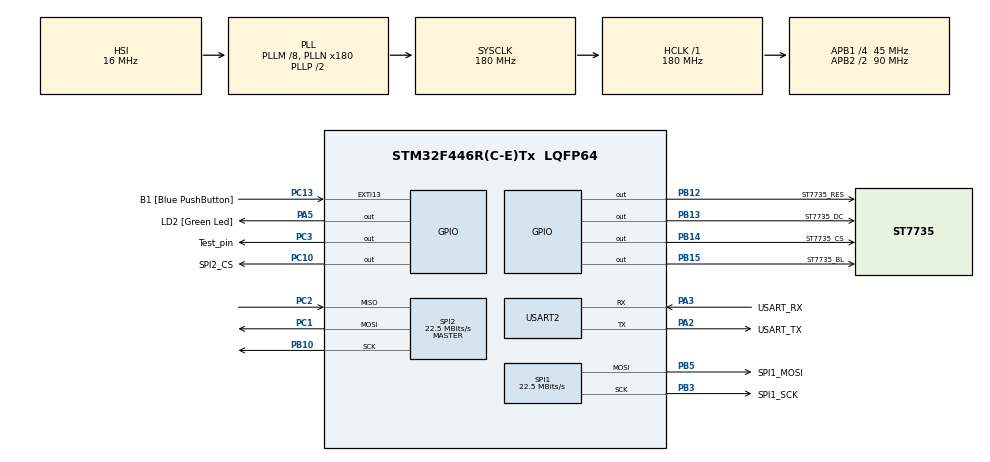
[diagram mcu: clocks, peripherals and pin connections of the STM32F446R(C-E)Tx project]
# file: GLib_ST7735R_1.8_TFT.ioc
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Dma.Request0=SPI1_TX
Dma.SPI1_TX.0.Direction=DMA_MEMORY_TO_PERIPH
Dma.SPI1_TX.0.FIFOMode=DMA_FIFOMODE_DISABLE
Dma.SPI1_TX.0.Instance=DMA2_Stream3
Dma.SPI1_TX.0.MemDataAlignment=DMA_MDATAALIGN_BYTE
Dma.SPI1_TX.0.MemInc=DMA_MINC_ENABLE
Dma.SPI1_TX.0.Mode=DMA_NORMAL
Dma.SPI1_TX.0.PeriphDataAlignment=DMA_PDATAALIGN_BYTE
Dma.SPI1_TX.0.PeriphInc=DMA_PINC_DISABLE
Dma.SPI1_TX.0.Priority=DMA_PRIORITY_LOW
FATFS._MAX_SS=512
FATFS._MIN_SS=512
Mcu.Family=STM32F4
Mcu.Name=STM32F446R(C-E)Tx
Mcu.Package=LQFP64
NVIC.DMA2_Stream3_IRQn=true\:0\:0\:false\:false\:true\:false\:true\:true
NVIC.PriorityGroup=NVIC_PRIORITYGROUP_2
PA13.GPIO_Label=TMS
PA13.Mode=Serial_Wire
PA13.Signal=SYS_JTMS-SWDIO
PA14.GPIO_Label=TCK
PA14.Mode=Serial_Wire
PA14.Signal=SYS_JTCK-SWCLK
PA2.GPIO_Label=USART_TX
PA2.Mode=Asynchronous
PA2.Signal=USART2_TX
PA3.GPIO_Label=USART_RX
PA3.Mode=Asynchronous
PA3.Signal=USART2_RX
PA5.GPIO_Label=LD2 [Green Led]
PA5.Signal=GPIO_Output
PB10.Mode=Full_Duplex_Master
PB10.Signal=SPI2_SCK
PB12.GPIO_Label=ST7735_RES
PB12.Signal=GPIO_Output
PB13.GPIO_Label=ST7735_DC
PB13.Signal=GPIO_Output
PB14.GPIO_Label=ST7735_CS
PB14.Signal=GPIO_Output
PB15.GPIO_Label=ST7735_BL
PB15.Signal=GPIO_Output
PB3.GPIO_Label=SPI1_SCK
PB3.Mode=TX_Only_Simplex_Unidirect_Master
PB3.Signal=SPI1_SCK
PB5.GPIO_Label=SPI1_MOSI
PB5.Mode=TX_Only_Simplex_Unidirect_Master
PB5.Signal=SPI1_MOSI
PC1.Mode=Full_Duplex_Master
PC1.Signal=SPI2_MOSI
PC10.GPIO_Label=SPI2_CS
PC10.GPIO_PuPd=GPIO_PULLUP
PC10.PinState=GPIO_PIN_SET
PC10.Signal=GPIO_Output
PC13.GPIO_Label=B1 [Blue PushButton]
PC13.GPIO_ModeDefaultEXTI=GPIO_MODE_IT_FALLING
PC13.Signal=GPXTI13
PC14-OSC32_IN.Mode=LSE-External-Oscillator
PC14-OSC32_IN.Signal=RCC_OSC32_IN
PC15-OSC32_OUT.Mode=LSE-External-Oscillator
PC15-OSC32_OUT.Signal=RCC_OSC32_OUT
PC2.Mode=Full_Duplex_Master
PC2.Signal=SPI2_MISO
PC3.GPIO_Label=Test_pin
PC3.Signal=GPIO_Output
ProjectManager.HeapSize=0x200
ProjectManager.StackSize=0x400
ProjectManager.TargetToolchain=STM32CubeIDE
RCC.48MHZClocksFreq_Value=84000000
RCC.AHBFreq_Value=180000000
RCC.APB1CLKDivider=RCC_HCLK_DIV4
RCC.APB1Freq_Value=45000000
RCC.APB1TimFreq_Value=90000000
RCC.APB2CLKDivider=RCC_HCLK_DIV2
RCC.APB2Freq_Value=90000000
RCC.APB2TimFreq_Value=180000000
RCC.CortexFreq_Value=180000000
RCC.FLatency-AdvancedSettings=FLASH_LATENCY_5
RCC.HCLKFreq_Value=180000000
RCC.HSE_VALUE=8000000
RCC.HSI_VALUE=16000000
RCC.PLLM=8
RCC.PLLN=180
RCC.SYSCLKFreq_VALUE=180000000
RCC.SYSCLKSource=RCC_SYSCLKSOURCE_PLLCLK
RCC.USBFreq_Value=180000000
RCC.VCOOutputFreq_Value=360000000
SPI1.BaudRatePrescaler=SPI_BAUDRATEPRESCALER_4
SPI1.CalculateBaudRate=22.5 MBits/s
SPI1.DataSize=SPI_DATASIZE_8BIT
SPI1.Direction=SPI_DIRECTION_2LINES
SPI1.Mode=SPI_MODE_MASTER
SPI1.VirtualType=VM_MASTER
SPI2.BaudRatePrescaler=SPI_BAUDRATEPRESCALER_2
SPI2.CalculateBaudRate=22.5 MBits/s
SPI2.DataSize=SPI_DATASIZE_8BIT
SPI2.Direction=SPI_DIRECTION_2LINES
SPI2.Mode=SPI_MODE_MASTER
SPI2.VirtualType=VM_MASTER
USART2.VirtualMode=VM_ASYNC
VP_FATFS_VS_Generic.Mode=User_defined
board=NUCLEO-F446RE

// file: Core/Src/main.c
/* USER CODE BEGIN Header */
/*
 * GLib_ST7735R_1.8_TFT
 * Copyright (C) 2025 Anatoliy Lizanets, Andrew Kushyk, Andriy Honcharenko, ScarsFun
 *
 * This program is free software: you can redistribute it and/or modify
 * it under the terms of the GNU General Public License as published by
 * the Free Software Foundation, either version 3 of the License, or
 * (at your option) any later version.
 *
 * This program is distributed in the hope that it will be useful,
 * but WITHOUT ANY WARRANTY; without even the implied warranty of
 * MERCHANTABILITY or FITNESS FOR A PARTICULAR PURPOSE.  See the
 * GNU General Public License for more details.
 *
 * You should have received a copy of the GNU General Public License
 * along with this program.  If not, see <https://www.gnu.org/licenses/>.
 */
/* USER CODE END Header */
#include "main.h"
#include "fatfs.h"

/* USER CODE BEGIN Includes */
#include "st7735.h"
#include "fonts.h"
#include "image.h"

#include <stdio.h>
#include <string.h>
#include <stdarg.h> //for va_list var arg functions
#include "user_diskio.h"
/* USER CODE END Includes */

/* USER CODE BEGIN PTD */
void myprintf(const char *fmt, ...);
/* USER CODE END PTD */

/* USER CODE BEGIN PD */
const uint8_t rotation = 3;
/* USER CODE END PD */

SPI_HandleTypeDef hspi1;
SPI_HandleTypeDef hspi2;
DMA_HandleTypeDef hdma_spi1_tx;

UART_HandleTypeDef huart2;

/* USER CODE BEGIN PV */
uint16_t image_buffer[160 * 128];

uint16_t (*image_2d)[128] = (uint16_t(*)[128])image_buffer;

#define FRAME_SIZE (160*128*2)  // 40960 байт

/* USER CODE END PV */

void SystemClock_Config(void);
static void MX_GPIO_Init(void);
static void MX_DMA_Init(void);
static void MX_USART2_UART_Init(void);
static void MX_SPI1_Init(void);
static void MX_SPI2_Init(void);
/* USER CODE BEGIN PFP */
// Глобальний об'єкт файлової системи
static FATFS fs;
// Файловий дескриптор
static FIL fil;

/* USER CODE END PFP */

/* USER CODE BEGIN 0 */
void myprintf(const char *fmt, ...) {
  static char buffer[256];
  va_list args;
  va_start(args, fmt);
  vsnprintf(buffer, sizeof(buffer), fmt, args);
  va_end(args);

  int len = strlen(buffer);
  HAL_UART_Transmit(&huart2, (uint8_t*)buffer, len, -1);

}

void demoTFT(void)
{
 ST7735_SetRotation(rotation);

 //ST7735_DrawImage(0, 0, 160, 128, (uint16_t*) test_img_128x128);
 //ST7735_DrawImage(0, 0, 160, 128, (uint16_t*) test_img_128x128_2);
// HAL_Delay(3000);
// ST7735_DrawImage(0, 0, 160, 128, (uint16_t*) test_img_128x128_3);
 HAL_Delay(3000);
 //ST7735_DrawImage(0, 0, 160, 128, (uint16_t*) test_img_128x128_4);
 HAL_Delay(3000);

// r++;
}

void copy_1d_to_2d(const uint16_t* one_d, uint16_t two_d[160][128])
{
    for (int y = 0; y < 160; y++)
    {
        for (int x = 0; x < 128; x++)
        {
            two_d[y][x] = one_d[y * 128 + x];
        }
    }
}
void parse_boot_sector(void)
{
    BYTE sector_buf[512];
    DRESULT dres = disk_read(0, sector_buf, 0, 1); // Читаємо сектор 0

    if (dres != RES_OK) {
        myprintf("Can't read boot sector\r\n");
        return;
    }

    // BPB розпочинається з байта 11
    uint16_t bytes_per_sector = sector_buf[11] | (sector_buf[12] << 8);
    uint8_t sectors_per_cluster = sector_buf[13];
    uint16_t reserved_sectors = sector_buf[14] | (sector_buf[15] << 8);
    uint8_t num_fats = sector_buf[16];
    uint16_t root_entries = sector_buf[17] | (sector_buf[18] << 8);
    uint16_t total_sectors_16 = sector_buf[19] | (sector_buf[20] << 8);
    uint32_t total_sectors_32 = *(uint32_t*)&sector_buf[32];
    uint16_t sectors_per_fat_16 = sector_buf[22] | (sector_buf[23] << 8);
    uint32_t sectors_per_fat_32 = *(uint32_t*)&sector_buf[36];

    myprintf("FAT Info:\r\n");
    myprintf("Bytes per sector:      %u\r\n", bytes_per_sector);
    myprintf("Sectors per cluster:   %u\r\n", sectors_per_cluster);
    myprintf("Reserved sectors:      %u\r\n", reserved_sectors);
    myprintf("Number of FATs:        %u\r\n", num_fats);
    myprintf("Root dir entries:      %u\r\n", root_entries);
    myprintf("Total sectors (16-bit):%u\r\n", total_sectors_16);
    myprintf("Total sectors (32-bit):%lu\r\n", total_sectors_32);
    myprintf("Sectors per FAT (16):  %u\r\n", sectors_per_fat_16);
    myprintf("Sectors per FAT (32):  %lu\r\n", sectors_per_fat_32);

    // Вивести метку тому (Volume Label)
    myprintf("Volume label: %.11s\r\n", &sector_buf[43]);

    // Вивести тип FAT
    myprintf("FAT type string: %.8s\r\n", &sector_buf[54]); // Наприклад, "FAT16   "
}

FRESULT fatfs_read_buff(uint16_t* buff, char* name_of_file )
{
    FRESULT res;
    UINT br;

#define IMAGE_SIZE 20480 // кількість елементів uint16_t (не байтів!)

 res = f_open(&fil, name_of_file, FA_READ);
if (res != FR_OK)
{
    myprintf("f_open failed: %d\r\n", res);
    return res;
}

res = f_read(&fil, buff, IMAGE_SIZE * sizeof(uint16_t), &br);

if (res != FR_OK || br != IMAGE_SIZE * sizeof(uint16_t))
{
    myprintf("f_read failed: %d, read %u bytes\r\n", res, br);
    return res;
}

myprintf("Successfully read %u bytes from file\r\n", br);

    // 7. Закриваємо файл після читання
    f_close(&fil);

    return res;

}
FRESULT fatfs_init()
{
	FRESULT res;
	 // 1. Монтуємо файлову систему
	    res = f_mount(&fs, "", 1);
	    if (res != FR_OK )
	    {
	        myprintf("f_mount failed: %d\r\n", res);
	        return res;
	    }
	    myprintf("File system mounted\r\n");
	    return res;
}
FRESULT fatfs_write(const uint16_t* buff, char* name_of_file )
{
    FRESULT res;
    UINT bw;

    // 2. Створюємо або відкриваємо файл для запису
    res = f_open(&fil, name_of_file, FA_WRITE | FA_CREATE_ALWAYS);
    if (res != FR_OK)
    {
        myprintf("f_open write failed: %d\r\n", res);
        return res;
    }
    myprintf("File opened for writing\r\n");

    // 3. Записуємо буфер у файл

    const uint32_t buf_size = 40960; // Кількість байтів

    res = f_write(&fil, buff, buf_size, &bw);
    if (res != FR_OK || bw != buf_size)
    {
        myprintf("f_write failed: %d\r\n", res);
        f_close(&fil);
        return res;
    }
    HAL_Delay(1000);
    myprintf("Wrote %lu bytes to file\r\n", bw);

    // 4. Закриваємо файл після запису
    f_close(&fil);

    return res;

}

void test_lowlevel_sd(void) {
    DSTATUS status;
    DRESULT res;
    BYTE buffer[512];
    BYTE write_data[512];
    UINT i;

    myprintf("\r\n--- SD Low Level Test Start ---\r\n");

    // 1. Ініціалізація диску
    status = disk_initialize(0);
    if (status != 0) {
        myprintf("disk_initialize failed with status: %d\r\n", status);
        return;
    }
    myprintf("disk_initialize OK\r\n");

    // 2. Перевірка статусу
    status = disk_status(0);
    if (status != 0) {
        myprintf("disk_status reports NOT READY (status=%d)\r\n", status);
        return;
    }
    myprintf("disk_status OK\r\n");

    // 3. Читання 0-го сектора
    memset(buffer, 0, sizeof(buffer));
    res = disk_read(0, buffer, 0, 1);
    if (res != RES_OK) {
        myprintf("disk_read sector 0 failed with result: %d\r\n", res);
        return;
    }
    myprintf("disk_read sector 0 OK, first 16 bytes:\r\n");
    for(i = 0; i < 16; i++) {
        myprintf("%02X ", buffer[i]);
    }
    myprintf("\r\n");

    // 4. Підготовка даних для запису в 1-й сектор (наприклад, запишемо інкрементний патерн)
    for(i = 0; i < 512; i++) {
        write_data[i] = (BYTE)(i & 0xFF);
    }

    // 5. Запис у 1-й сектор
    res = disk_write(0, write_data, 1, 1);
    if (res != RES_OK) {
        myprintf("disk_write sector 1 failed with result: %d\r\n", res);
        return;
    }
    myprintf("disk_write sector 1 OK\r\n");

    // 6. Читання назад 1-го сектора і перевірка
    memset(buffer, 0, sizeof(buffer));
    res = disk_read(0, buffer, 1, 1);
    if (res != RES_OK) {
        myprintf("disk_read sector 1 failed with result: %d\r\n", res);
        return;
    }
    myprintf("disk_read sector 1 OK, first 16 bytes:\r\n");
    for(i = 0; i < 16; i++) {
        myprintf("%02X ", buffer[i]);
    }
    myprintf("\r\n");

    // 7. Перевірка відповідності записаних та прочитаних даних
    if (memcmp(write_data, buffer, 512) == 0) {
        myprintf("Read/Write test PASSED!\r\n");
    } else {
        myprintf("Read/Write test FAILED!\r\n");
    }

    myprintf("--- SD Low Level Test End ---\r\n");
}

int fill_file_names(char* files[], int count)
{
	const uint8_t MAX_FILENAME_LEN = 10;

    char buff[MAX_FILENAME_LEN];

    for (int i = 0; i < count; i++)
    {
        // Формуємо ім'я файлу
        int len = snprintf(buff, MAX_FILENAME_LEN, "i%d.txt", i);

        if (len < 0 || len >= MAX_FILENAME_LEN)
        {
            // Помилка форматування або довжина більша за буфер
            return -1;
        }
        files[i] = malloc(len + 1); // +1 для '\0'
        if (files[i] == NULL)
        {
        	// Помилка виділення пам'яті — звільняємо вже виділену
            for (int j = 0; j < i; j++)
            {
                free(files[j]);
            }
            return -2;
        }
        strcpy(files[i], buff);
    }
    return 0; // Успішно
}

void free_file_names(char* files[], int count)
{
    for (int i = 0; i < count; i++)
    {
        if (files[i] != NULL)
        {
            free(files[i]);
            files[i] = NULL;  // Щоб уникнути випадкового повторного звільнення
        }
    }
}
void draw_image(const uint16_t* image)
{
	uint16_t (*ptr_2d)[128] = (uint16_t(*)[128])image;
    ST7735_DrawImage(0, 0, 160, 128, (uint16_t*) ptr_2d);
}

void draw_1_file(const uint16_t number_of_frames, char* file_name)
{
	FIL file;
	UINT br;
	FRESULT  res;
	static uint16_t counter = 0;

	if (counter == 0 )
	{
		res = f_open(&file, file_name, FA_READ);
		if( FR_OK != res)
		{
			draw_image(error_image);
		}
	}

	uint32_t offset = counter * FRAME_SIZE;

	if (f_lseek(&file, offset) != FR_OK)
	{
		draw_image(error_image);
	}

	if (f_read(&file, image_buffer, FRAME_SIZE, &br) != FR_OK || br != FRAME_SIZE)
	{
		draw_image(error_image);
	}
	else
	{
		ST7735_DrawImage(0, 0, 160, 128, (uint16_t*)image_2d);
		counter = ( counter + 1 ) % number_of_frames;
	}

}
/* USER CODE END 0 */

int main(void)
{

  /* MCU Configuration--------------------------------------------------------*/

  /* Reset of all peripherals, Initializes the Flash interface and the Systick. */
  HAL_Init();

  /* Configure the system clock */
  SystemClock_Config();

  /* Initialize all configured peripherals */
  MX_GPIO_Init();
  MX_DMA_Init();
  MX_USART2_UART_Init();
  MX_SPI1_Init();
  MX_SPI2_Init();
  MX_FATFS_Init();
  /* USER CODE BEGIN 2 */
  ST7735_Init(&hspi1);
  ST7735_Backlight_On();
  ST7735_SetRotation(rotation);
  draw_image(Ektos_image);
  fatfs_init();
  HAL_Delay(1000);

#ifdef IMAGE
  char* file_names[1002] =
  {
	  "image_0.txt",
  };
  fill_file_names(file_names, 1001);
#endif

  /* USER CODE END 2 */

  /* Infinite loop */
  /* USER CODE BEGIN WHILE */

  const  uint16_t number_of_frames = 975;

  while (1)
  {
	  draw_1_file(number_of_frames, "i.BIN");
    /* USER CODE END WHILE */

  }
}

void SystemClock_Config(void)
{
  RCC_OscInitTypeDef RCC_OscInitStruct = {0};
  RCC_ClkInitTypeDef RCC_ClkInitStruct = {0};

  /** Configure the main internal regulator output voltage
  */
  __HAL_RCC_PWR_CLK_ENABLE();
  __HAL_PWR_VOLTAGESCALING_CONFIG(PWR_REGULATOR_VOLTAGE_SCALE1);

  /** Initializes the RCC Oscillators according to the specified parameters
  * in the RCC_OscInitTypeDef structure.
  */
  RCC_OscInitStruct.OscillatorType = RCC_OSCILLATORTYPE_HSI;
  RCC_OscInitStruct.HSIState = RCC_HSI_ON;
  RCC_OscInitStruct.HSICalibrationValue = RCC_HSICALIBRATION_DEFAULT;
  RCC_OscInitStruct.PLL.PLLState = RCC_PLL_ON;
  RCC_OscInitStruct.PLL.PLLSource = RCC_PLLSOURCE_HSI;
  RCC_OscInitStruct.PLL.PLLM = 8;
  RCC_OscInitStruct.PLL.PLLN = 180;
  RCC_OscInitStruct.PLL.PLLP = RCC_PLLP_DIV2;
  RCC_OscInitStruct.PLL.PLLQ = 2;
  RCC_OscInitStruct.PLL.PLLR = 2;
  if (HAL_RCC_OscConfig(&RCC_OscInitStruct) != HAL_OK)
  {
    Error_Handler();
  }

  /** Activate the Over-Drive mode
  */
  if (HAL_PWREx_EnableOverDrive() != HAL_OK)
  {
    Error_Handler();
  }

  /** Initializes the CPU, AHB and APB buses clocks
  */
  RCC_ClkInitStruct.ClockType = RCC_CLOCKTYPE_HCLK|RCC_CLOCKTYPE_SYSCLK
                              |RCC_CLOCKTYPE_PCLK1|RCC_CLOCKTYPE_PCLK2;
  RCC_ClkInitStruct.SYSCLKSource = RCC_SYSCLKSOURCE_PLLCLK;
  RCC_ClkInitStruct.AHBCLKDivider = RCC_SYSCLK_DIV1;
  RCC_ClkInitStruct.APB1CLKDivider = RCC_HCLK_DIV4;
  RCC_ClkInitStruct.APB2CLKDivider = RCC_HCLK_DIV2;

  if (HAL_RCC_ClockConfig(&RCC_ClkInitStruct, FLASH_LATENCY_5) != HAL_OK)
  {
    Error_Handler();
  }
}

static void MX_SPI1_Init(void)
{

  /* SPI1 parameter configuration*/
  hspi1.Instance = SPI1;
  hspi1.Init.Mode = SPI_MODE_MASTER;
  hspi1.Init.Direction = SPI_DIRECTION_2LINES;
  hspi1.Init.DataSize = SPI_DATASIZE_8BIT;
  hspi1.Init.CLKPolarity = SPI_POLARITY_LOW;
  hspi1.Init.CLKPhase = SPI_PHASE_1EDGE;
  hspi1.Init.NSS = SPI_NSS_SOFT;
  hspi1.Init.BaudRatePrescaler = SPI_BAUDRATEPRESCALER_4;
  hspi1.Init.FirstBit = SPI_FIRSTBIT_MSB;
  hspi1.Init.TIMode = SPI_TIMODE_DISABLE;
  hspi1.Init.CRCCalculation = SPI_CRCCALCULATION_DISABLE;
  hspi1.Init.CRCPolynomial = 10;
  if (HAL_SPI_Init(&hspi1) != HAL_OK)
  {
    Error_Handler();
  }

}

static void MX_SPI2_Init(void)
{

  /* SPI2 parameter configuration*/
  hspi2.Instance = SPI2;
  hspi2.Init.Mode = SPI_MODE_MASTER;
  hspi2.Init.Direction = SPI_DIRECTION_2LINES;
  hspi2.Init.DataSize = SPI_DATASIZE_8BIT;
  hspi2.Init.CLKPolarity = SPI_POLARITY_LOW;
  hspi2.Init.CLKPhase = SPI_PHASE_1EDGE;
  hspi2.Init.NSS = SPI_NSS_SOFT;
  hspi2.Init.BaudRatePrescaler = SPI_BAUDRATEPRESCALER_2;
  hspi2.Init.FirstBit = SPI_FIRSTBIT_MSB;
  hspi2.Init.TIMode = SPI_TIMODE_DISABLE;
  hspi2.Init.CRCCalculation = SPI_CRCCALCULATION_DISABLE;
  hspi2.Init.CRCPolynomial = 10;
  if (HAL_SPI_Init(&hspi2) != HAL_OK)
  {
    Error_Handler();
  }

}

static void MX_USART2_UART_Init(void)
{

  huart2.Instance = USART2;
  huart2.Init.BaudRate = 115200;
  huart2.Init.WordLength = UART_WORDLENGTH_8B;
  huart2.Init.StopBits = UART_STOPBITS_1;
  huart2.Init.Parity = UART_PARITY_NONE;
  huart2.Init.Mode = UART_MODE_TX_RX;
  huart2.Init.HwFlowCtl = UART_HWCONTROL_NONE;
  huart2.Init.OverSampling = UART_OVERSAMPLING_16;
  if (HAL_UART_Init(&huart2) != HAL_OK)
  {
    Error_Handler();
  }

}

static void MX_DMA_Init(void)
{

  /* DMA controller clock enable */
  __HAL_RCC_DMA2_CLK_ENABLE();

  /* DMA interrupt init */
  /* DMA2_Stream3_IRQn interrupt configuration */
  HAL_NVIC_SetPriority(DMA2_Stream3_IRQn, 0, 0);
  HAL_NVIC_EnableIRQ(DMA2_Stream3_IRQn);

}

static void MX_GPIO_Init(void)
{
  GPIO_InitTypeDef GPIO_InitStruct = {0};

  /* GPIO Ports Clock Enable */
  __HAL_RCC_GPIOC_CLK_ENABLE();
  __HAL_RCC_GPIOA_CLK_ENABLE();
  __HAL_RCC_GPIOB_CLK_ENABLE();

  /*Configure GPIO pin Output Level */
  HAL_GPIO_WritePin(Test_pin_GPIO_Port, Test_pin_Pin, GPIO_PIN_RESET);

  /*Configure GPIO pin Output Level */
  HAL_GPIO_WritePin(LD2_GPIO_Port, LD2_Pin, GPIO_PIN_RESET);

  /*Configure GPIO pin Output Level */
  HAL_GPIO_WritePin(GPIOB, ST7735_RES_Pin|ST7735_DC_Pin|ST7735_CS_Pin|ST7735_BL_Pin, GPIO_PIN_RESET);

  /*Configure GPIO pin Output Level */
  HAL_GPIO_WritePin(SPI2_CS_GPIO_Port, SPI2_CS_Pin, GPIO_PIN_SET);

  /*Configure GPIO pin : B1_Pin */
  GPIO_InitStruct.Pin = B1_Pin;
  GPIO_InitStruct.Mode = GPIO_MODE_IT_FALLING;
  GPIO_InitStruct.Pull = GPIO_NOPULL;
  HAL_GPIO_Init(B1_GPIO_Port, &GPIO_InitStruct);

  /*Configure GPIO pin : Test_pin_Pin */
  GPIO_InitStruct.Pin = Test_pin_Pin;
  GPIO_InitStruct.Mode = GPIO_MODE_OUTPUT_PP;
  GPIO_InitStruct.Pull = GPIO_NOPULL;
  GPIO_InitStruct.Speed = GPIO_SPEED_FREQ_LOW;
  HAL_GPIO_Init(Test_pin_GPIO_Port, &GPIO_InitStruct);

  /*Configure GPIO pin : LD2_Pin */
  GPIO_InitStruct.Pin = LD2_Pin;
  GPIO_InitStruct.Mode = GPIO_MODE_OUTPUT_PP;
  GPIO_InitStruct.Pull = GPIO_NOPULL;
  GPIO_InitStruct.Speed = GPIO_SPEED_FREQ_LOW;
  HAL_GPIO_Init(LD2_GPIO_Port, &GPIO_InitStruct);

  /*Configure GPIO pins : ST7735_RES_Pin ST7735_DC_Pin ST7735_CS_Pin ST7735_BL_Pin */
  GPIO_InitStruct.Pin = ST7735_RES_Pin|ST7735_DC_Pin|ST7735_CS_Pin|ST7735_BL_Pin;
  GPIO_InitStruct.Mode = GPIO_MODE_OUTPUT_PP;
  GPIO_InitStruct.Pull = GPIO_NOPULL;
  GPIO_InitStruct.Speed = GPIO_SPEED_FREQ_LOW;
  HAL_GPIO_Init(GPIOB, &GPIO_InitStruct);

  /*Configure GPIO pin : SPI2_CS_Pin */
  GPIO_InitStruct.Pin = SPI2_CS_Pin;
  GPIO_InitStruct.Mode = GPIO_MODE_OUTPUT_PP;
  GPIO_InitStruct.Pull = GPIO_PULLUP;
  GPIO_InitStruct.Speed = GPIO_SPEED_FREQ_LOW;
  HAL_GPIO_Init(SPI2_CS_GPIO_Port, &GPIO_InitStruct);

}

void Error_Handler(void)
{
}
